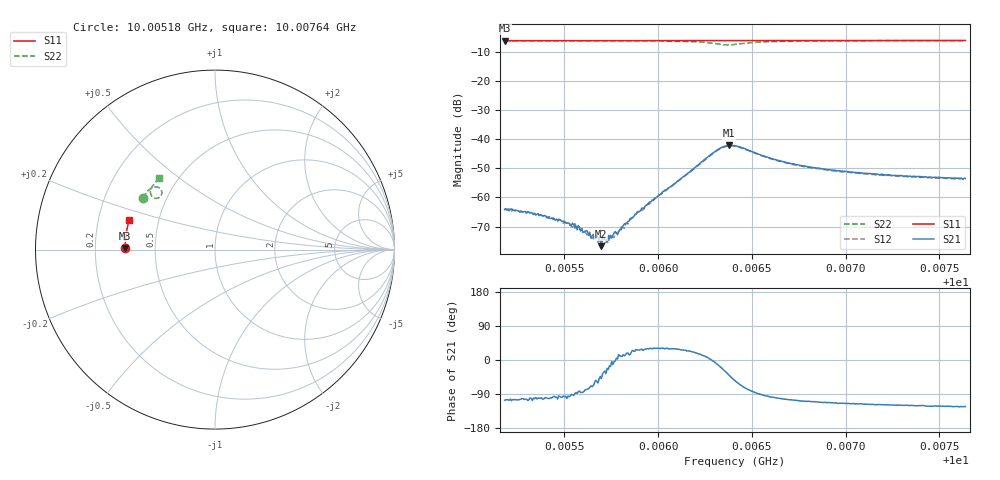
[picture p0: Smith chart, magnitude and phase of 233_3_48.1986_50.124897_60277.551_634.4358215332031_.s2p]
#  HZ  S  RI  R  50.00
! Rohde & Schwarz Vector Network Analyzer
! Rohde-Schwarz,ZNB20-2Port,1311601062101988,3.16
! Created: UTC 3/20/2024, 11:46:33 AM
! freq[Hz]  re:S11  im:S11  re:S21  im:S21  re:S12  im:S12  re:S22  im:S22
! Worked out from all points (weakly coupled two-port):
!   401 points, 10.00518 GHz to 10.00764 GHz, reference 50 ohm
!   highest |S21| = -42.05 dB at 10.00638 GHz (marker M1); lowest = -76.8 dB at 10.0057 GHz (marker M2)
!   lowest |S11| = -6.0 dB at 10.00518 GHz (marker M3), VSWR 3.00, Z = 16.7 + j0.417 ohm
!   |S11| at or under -10 dB: nowhere
!   |S22| runs from -7.4 to -6.0 dB; largest |S21 - S12| = 0.00048
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1.0005181e10  -0.5 0.00938  -0.000175 -0.000595  -0.000163 -0.000619  -0.4025 0.2886
1.0005384e10  -0.4999 0.0226  -0.000114 -0.000473  -4.75e-05 -0.000479  -0.3943 0.3006
1.0005513e10  -0.4998 0.031  -7.37e-05 -0.000354  -1.74e-05 -0.000364  -0.3888 0.3083
1.0005562e10  -0.4997 0.0341  2.39e-05 -0.000316  1.79e-05 -0.000317  -0.3864 0.3114
1.0005593e10  -0.4996 0.0361  2.47e-05 -0.000289  1.63e-05 -0.00029  -0.385 0.3132
1.0005654e10  -0.4993 0.0402  8.83e-05 -0.000214  9.58e-05 -0.000183  -0.3819 0.317
1.0005666e10  -0.4995 0.0409  0.000129 -0.000177  8.62e-05 -0.000161  -0.3812 0.3178
1.0005691e10  -0.4993 0.0425  0.00013 -0.000123  0.000131 -0.000145  -0.38 0.3194
1.0005697e10  -0.4993 0.043  9.6e-05 -0.000109  0.000117 -0.000115  -0.3797 0.3198
1.0005728e10  -0.4992 0.0449  0.000164 -6.58e-05  0.00015 -9.55e-05  -0.378 0.3216
1.0005789e10  -0.499 0.0489  0.00025 6.41e-05  0.000265 2.02e-05  -0.3745 0.3257
1.0005826e10  -0.4988 0.0512  0.000347 8.83e-05  0.000333 0.00011  -0.3722 0.3281
1.0005882e10  -0.4983 0.0549  0.000458 0.00024  0.000439 0.00026  -0.3685 0.3316
1.0006005e10  -0.4977 0.0629  0.000952 0.000563  0.000907 0.000595  -0.3583 0.3399
1.00063e10  -0.4949 0.0817  0.00606 -0.000528  0.00593 -0.000229  -0.3001 0.3323
1.0006343e10  -0.4945 0.0844  0.00679 -0.00288  0.00677 -0.00249  -0.2967 0.3107
1.0006379e10  -0.4943 0.0865  0.00601 -0.00513  0.00611 -0.0047  -0.3075 0.2928
1.000641e10  -0.4941 0.0881  0.00449 -0.00632  0.0047 -0.00597  -0.323 0.2859
1.0006631e10  -0.4923 0.1024  -0.000767 -0.00435  -0.000572 -0.0043  -0.3592 0.3272
1.0006822e10  -0.4901 0.1145  -0.00112 -0.00309  -0.000966 -0.00309  -0.3512 0.3487
1.0007234e10  -0.4842 0.1405  -0.00117 -0.00214  -0.00104 -0.00217  -0.33 0.3758
1.000764e10  -0.477 0.1656  -0.00115 -0.00178  -0.00104 -0.00175  -0.3094 0.3962
